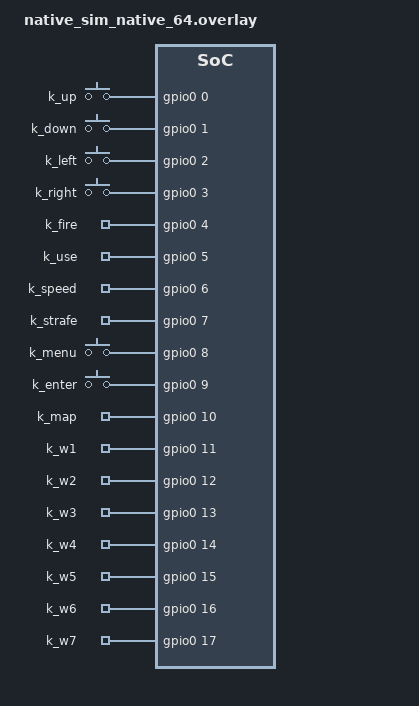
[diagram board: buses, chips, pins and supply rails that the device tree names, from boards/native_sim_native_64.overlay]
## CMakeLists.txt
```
cmake_minimum_required(VERSION 3.20.0)
find_package(Zephyr REQUIRED HINTS $ENV{ZEPHYR_BASE})
project(zephyr_doom)

if (CONFIG_BOARD_NATIVE_SIM)
    set(DOOM_WAD_SRC "${CMAKE_CURRENT_BINARY_DIR}/doom_wad.c")
    set(DOOM_WAD_BIN "${CMAKE_CURRENT_SOURCE_DIR}/../gamedata/doom1.wad")
    add_custom_command(
        OUTPUT ${DOOM_WAD_SRC}
        COMMAND ${PYTHON_EXECUTABLE} ${CMAKE_CURRENT_SOURCE_DIR}/scripts/gen_wad_c.py
                ${DOOM_WAD_BIN} ${DOOM_WAD_SRC}
        DEPENDS ${DOOM_WAD_BIN}
        COMMENT "Embedding doom1.wad into doom_wad.c"
    )
    add_custom_target(doom_wad_gen DEPENDS ${DOOM_WAD_SRC})
    add_dependencies(app doom_wad_gen)
endif()

target_include_directories(app PRIVATE src/)
target_include_directories(app PRIVATE src/config)

set(DOOM_COMMON_SRCS
                src/main.c
                src/doom_status_led.c
                src/n_mem.c
                src/i_timer.c
                src/n_rjoy.c
                src/n_rjoy_shield.c
                src/deh_main.c
                src/deh_str.c
                src/doom/deh_misc.h
                src/doom/deh_misc.c
                src/d_event.c
                src/d_iwad.c
                src/d_mode.c
                src/d_loop.c
                src/i_system.c
                src/i_input.c
                src/i_video.c
                src/i_joystick.c
                src/i_sound.c
                src/m_argv.c
                src/m_bbox.c
                src/m_cheat.c
                src/m_config.c
                src/m_fixed.c
                src/m_misc.c
                src/m_controls.c
                src/net_client.c
                src/net_server.c
                src/tables.c
                src/v_diskicon.c
                src/v_video.c
                src/w_checksum.c
                src/w_file.c
                src/w_file_fatfs.c
                src/w_main.c
                src/wad_sd.c
                src/w_wad.c
                src/z_native.c
                src/sha1.c
                src/doom/am_map.c
                src/doom/doomstat.c
                src/doom/d_main.c
                src/doom/d_net.c
                src/doom/d_items.c
                src/doom/dstrings.c
                src/doom/f_wipe.c
                src/doom/f_finale.c
                src/doom/g_game.c
                src/doom/hu_lib.c
                src/doom/hu_stuff.c
                src/doom/info.c
                src/doom/m_menu.c
                src/doom/m_random.c
                src/doom/p_doors.c
                src/doom/p_ceilng.c
                src/doom/p_enemy.c
                src/doom/p_floor.c
                src/doom/p_lights.c
                src/doom/p_plats.c
                src/doom/p_telept.c
                src/doom/p_setup.c
                src/doom/p_sight.c
                src/doom/p_saveg.c
                src/doom/p_map.c
                src/doom/p_maputl.c
                src/doom/p_mobj.c
                src/doom/p_inter.c
                src/doom/p_tick.c
                src/doom/p_spec.c
                src/doom/p_switch.c
                src/doom/p_pspr.c
                src/doom/p_user.c
                src/doom/r_bsp.c
                src/doom/r_main.c
                src/doom/r_data.c
                src/doom/r_draw.c
                src/doom/r_plane.c
                src/doom/r_segs.c
                src/doom/r_sky.c
                src/doom/r_things.c
                src/doom/s_sound.c
                src/doom/st_lib.c
                src/doom/st_stuff.c
                src/doom/statdump.c
                src/doom/sounds.c
                src/doom/wi_stuff.c
)

target_sources(app PRIVATE ${DOOM_COMMON_SRCS})

if (CONFIG_BOARD_NATIVE_SIM)
    target_sources(app PRIVATE
                    src/n_qspi_native.c
                    src/n_input_native.c
                    ${CMAKE_CURRENT_BINARY_DIR}/doom_wad.c
    )
else()
    target_sources(app PRIVATE src/n_qspi.c)
endif()

if (NOT CONFIG_BOARD_NATIVE_SIM)
    target_sources(app PRIVATE src/n_buttons.c)
endif()

if (CONFIG_FEATURE_DOOM_DISPLAY)
    target_sources(app PRIVATE src/n_display.c)
else()
    target_sources(app PRIVATE src/n_display_stub.c)
endif()

if (CONFIG_FEATURE_DOOM_AUDIO)
    target_sources(app PRIVATE
                    src/n_i2s.c
                    src/n_i2s_sound.c
    )
endif()

if (CONFIG_FEATURE_DOOM_BLE)
    target_sources(app PRIVATE src/bluetooth_control.c)
endif()

if (NOT (CONFIG_BOARD_NRF5340DK_NRF5340_CPUAPP OR CONFIG_BOARD_FRDM_MCXN947 OR CONFIG_BOARD_FRDM_MCXN947_MCXN947_CPU0 OR CONFIG_BOARD_NATIVE_SIM))
    message(FATAL_ERROR "Unsupported board for unified_implementation: ${CONFIG_BOARD}")
endif()


# set C version
set(CMAKE_C_STANDARD 89)

# set oldest CPP version
set(CMAKE_CXX_STANDARD  98)
```

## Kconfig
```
mainmenu "Zephyr Kernel Configuration"

source "Kconfig.zephyr"

module = DOOM_MAIN
module-str = doom_main
source "subsys/logging/Kconfig.template.log_config"

menu "Zephyr Doom features"

config FEATURE_DOOM_AUDIO
	bool "Audio (I2S mixer output)"
	default y if BOARD_NRF5340DK_NRF5340_CPUAPP || BOARD_FRDM_MCXN947 || BOARD_FRDM_MCXN947_MCXN947_CPU0
	select I2S
	select I2S_MCUX_SAI if BOARD_FRDM_MCXN947 || BOARD_FRDM_MCXN947_MCXN947_CPU0
	help
	  Enable Doom audio output.

config FEATURE_DOOM_BLE
	bool "BLE input (HID clients via NCS helpers)"
	default y if BOARD_NRF5340DK_NRF5340_CPUAPP
	default n
	select BT
	select BT_CENTRAL
	select BT_SMP
	select BT_GATT_CLIENT
	select BT_SCAN
	select DK_LIBRARY if SOC_NRF5340_CPUAPP
	select BT_GATT_DM if SOC_NRF5340_CPUAPP
	select BT_HOGP if SOC_NRF5340_CPUAPP
	select BT_SCAN_FILTER_ENABLE if SOC_NRF5340_CPUAPP
	help
	  Enable BLE-based controllers.

	  Note (nRF5340 + NCS): you may also need NCS-specific bt_scan tuning
	  symbols (e.g. CONFIG_BT_SCAN_UUID_CNT).

config FEATURE_DOOM_SD
	bool "SD card upload (copy WAD to external flash)"
	default n
	select DISK_DRIVERS
	select FILE_SYSTEM
	select DISK_ACCESS
	select FAT_FILESYSTEM_ELM
	help
	  Enable mounting an SD card and uploading a WAD into external flash.
	  Normal gameplay reads the WAD from external flash/XIP and does not
	  require this feature.

config FEATURE_DOOM_DISPLAY
	bool "Display output (FT810 over SPI)"
	default y if BOARD_NRF5340DK_NRF5340_CPUAPP || BOARD_FRDM_MCXN947 || BOARD_FRDM_MCXN947_MCXN947_CPU0
	select SPI
	select GPIO
	help
	  Enable FT810 display output. If disabled, Doom still renders internally
	  but no frames are sent to the display controller.

config FEATURE_DOOM_BUTTONS
	bool "GPIO buttons"
	default y if BOARD_NRF5340DK_NRF5340_CPUAPP || BOARD_FRDM_MCXN947 || BOARD_FRDM_MCXN947_MCXN947_CPU0
	depends on GPIO
	help
	  Enable GPIO button input via devicetree aliases sw0..sw3.

config FEATURE_DOOM_LEDS
	bool "Status LEDs"
	default y if BOARD_NRF5340DK_NRF5340_CPUAPP || BOARD_FRDM_MCXN947 || BOARD_FRDM_MCXN947_MCXN947_CPU0
	default n
	depends on GPIO
	help
	  Enable optional LED indications.

config FEATURE_DOOM_SHIELD
	bool "Wired joystick shield (ADC + GPIO)"
	default y if BOARD_FRDM_MCXN947 || BOARD_FRDM_MCXN947_MCXN947_CPU0
	depends on GPIO
	help
	  Enable support for a wired joystick + button shield.

	  The joystick axes are read via Zephyr ADC (devicetree io-channels), and
	  the buttons are read via Zephyr GPIO (devicetree aliases).

config FEATURE_DOOM_NET
	bool "Network multiplayer (UDP, Chocolate Doom 3.0.0 compatible)"
	default y if BOARD_NATIVE_SIM
	default n
	select NETWORKING
	select NET_SOCKETS
	help
	  Enable Chocolate Doom 3.0.0 protocol-compatible UDP multiplayer, so the
	  game can join a standard chocolate-server / chocolate-doom session.

	  The transport (net_zephyr.c) uses Zephyr's BSD socket API. On native_sim
	  this is backed by host-offloaded sockets (enable
	  CONFIG_NET_NATIVE_OFFLOADED_SOCKETS in the board config), which needs no
	  host-side network setup. On hardware targets an IP-capable network
	  interface must additionally be configured.

config DOOM_SERVER_ADDR
	string "Multiplayer server address host[:port] (hardware targets)"
	depends on FEATURE_DOOM_NET
	default "192.168.10.1:2342"
	help
	  Hardware targets have no command line, so this is the server the game
	  connects to when an Ethernet link is present at boot (see M_ArgvInit).
	  Dotted-quad IPv4, optionally ":port" (default port 2342). Ignored on
	  native_sim, which takes -connect from the DOOM_ARGS environment variable.

config DOOM_NET_LINK_WAIT_MS
	int "Boot wait (ms) for Ethernet link before choosing SP vs MP"
	depends on FEATURE_DOOM_NET
	default 3000
	help
	  How long to wait at boot for the Ethernet PHY to report carrier. If the
	  link comes up within this window the game joins CONFIG_DOOM_SERVER_ADDR;
	  otherwise it starts single-player. PHY negotiation typically takes
	  ~1.7 s after reset.

choice
	prompt "Feature preset"
	default FEATURE_DOOM_PRESET_CUSTOM
	help
	  Convenience presets that enable a set of features for some tested boards.

config FEATURE_DOOM_PRESET_CUSTOM
	bool "Custom (no preset)"

config FEATURE_DOOM_PRESET_NRF5340DK_NRF5340_CPUAPP
	bool "nrf5340dk_nrf5340_cpuapp"
	select FEATURE_DOOM_DISPLAY
	select FEATURE_DOOM_AUDIO
	select FEATURE_DOOM_BUTTONS
	select FEATURE_DOOM_LEDS
	select FEATURE_DOOM_SD
	select FEATURE_DOOM_BLE

config FEATURE_DOOM_PRESET_FRDM_MCXN947_MCXN947_CPU0
	bool "frdm_mcxn947_mcxn947_cpu0"
	select FEATURE_DOOM_DISPLAY
	select FEATURE_DOOM_AUDIO
	select FEATURE_DOOM_BUTTONS
	select FEATURE_DOOM_LEDS
	select FEATURE_DOOM_SHIELD

endchoice

endmenu
```

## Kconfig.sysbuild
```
#
# Copyright (c) 2023 Nordic Semiconductor
#
# SPDX-License-Identifier: LicenseRef-Nordic-5-Clause
#

source "${ZEPHYR_BASE}/share/sysbuild/Kconfig"

config NRF_DEFAULT_BLUETOOTH
	default y
```

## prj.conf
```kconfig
CONFIG_LOG=y
CONFIG_LOG_MODE_IMMEDIATE=y
CONFIG_PRINTK=y

# Feature toggles (comment/uncomment)
# Features default per-board in `Kconfig`.
# Override here only when you want a non-default build.
#
# Example overrides:
# CONFIG_FEATURE_DOOM_SD=y
# CONFIG_FEATURE_DOOM_DISPLAY=n
# CONFIG_FEATURE_DOOM_AUDIO=n
# CONFIG_FEATURE_DOOM_BUTTONS=n
# CONFIG_FEATURE_DOOM_SHIELD=n
# CONFIG_FEATURE_DOOM_LEDS=y
#
# If CONFIG_FEATURE_DOOM_BLE is enabled on nRF5340 then bt_scan tuning may be
# required; keep NCS-only symbols in boards/nrf5340dk_nrf5340_cpuapp.conf.
# CONFIG_FEATURE_DOOM_BLE=y

CONFIG_MAIN_STACK_SIZE=4096
CONFIG_SYSTEM_WORKQUEUE_STACK_SIZE=2048
CONFIG_HEAP_MEM_POOL_SIZE=16384

# Common debug/metrics
CONFIG_CPU_LOAD=y
CONFIG_CPU_LOAD_LOG_PERIODICALLY=1000

# Common peripherals
CONFIG_GPIO=y
CONFIG_SPI=y
CONFIG_DISPLAY=y

# WAD-in-flash path expects these on both targets
CONFIG_FLASH=y
CONFIG_XIP=y

CONFIG_MAIN_THREAD_PRIORITY=4
```

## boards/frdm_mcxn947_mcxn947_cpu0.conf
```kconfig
CONFIG_THREAD_RUNTIME_STATS=y
CONFIG_THREAD_RUNTIME_STATS_USE_TIMING_FUNCTIONS=y
CONFIG_TIMING_FUNCTIONS=y

CONFIG_HEAP_MEM_POOL_SIZE=16384

# Wired joystick shield uses LPADC via Zephyr ADC subsystem.
CONFIG_ADC=y

# Audio (I2S via MCUX SAI) requires a larger DMA TCD queue than Zephyr's default.
CONFIG_DMA_TCD_QUEUE_SIZE=4

CONFIG_FEATURE_DOOM_NET=y
CONFIG_PHY_MONITOR_PERIOD=3600000

CONFIG_NET_L2_ETHERNET=y
CONFIG_NET_DRIVERS=y
CONFIG_NET_IPV4=y
CONFIG_NET_IPV6=n
CONFIG_NET_UDP=y
CONFIG_NET_TCP=n

CONFIG_NET_CONFIG_SETTINGS=y
CONFIG_NET_CONFIG_NEED_IPV4=y
CONFIG_NET_CONFIG_NEED_IPV6=n
CONFIG_NET_CONFIG_MY_IPV4_ADDR="192.168.10.2"
CONFIG_NET_CONFIG_MY_IPV4_GW="192.168.10.1"
CONFIG_NET_CONFIG_MY_IPV4_NETMASK="255.255.255.0"

CONFIG_ETH_NXP_ENET_QOS_TX_BUFFER_DESCRIPTORS=8
CONFIG_NET_PKT_RX_COUNT=32
CONFIG_NET_PKT_TX_COUNT=16
CONFIG_NET_BUF_RX_COUNT=64
CONFIG_NET_BUF_TX_COUNT=24
```

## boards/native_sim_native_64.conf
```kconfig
# Native simulator (Linux) build of zephyr-doom.

# Run simulated Zephyr time at host real-time speed (default is uncapped).
CONFIG_NATIVE_SIM_SLOWDOWN_TO_REAL_TIME=y

# Display: SDL window
CONFIG_DISPLAY=y
CONFIG_SDL_DISPLAY=y
CONFIG_SDL_DISPLAY_ZOOM_PCT=300

# Input: SDL keyboard -> emulated GPIO
CONFIG_GPIO=y
CONFIG_GPIO_EMUL=y
CONFIG_GPIO_EMUL_SDL=y

# No real flash / SPI / XIP on native
CONFIG_FLASH=n
CONFIG_SPI=n
CONFIG_XIP=n

# Multiplayer: Chocolate Doom compatible UDP networking.
# CONFIG_FEATURE_DOOM_NET defaults y for native_sim (see Kconfig) and selects
# CONFIG_NETWORKING + CONFIG_NET_SOCKETS. Here we route the BSD socket API to
# the host via offloaded sockets, so no host-side network setup (TAP, root) is
# required: the simulated game talks to a chocolate-server running on the host
# exactly like any other host process.
CONFIG_FEATURE_DOOM_NET=y
CONFIG_NET_DRIVERS=y
CONFIG_NET_SOCKETS_OFFLOAD=y
CONFIG_NET_NATIVE_OFFLOADED_SOCKETS=y
# Disable the native TAP Ethernet driver / native IP stack: it would otherwise
# intercept socket() with Zephyr's own address-family constants and conflict
# with the host-offloaded sockets (manifesting as EPFNOSUPPORT on socket()).
CONFIG_ETH_NATIVE_TAP=n

# Doom feature flags: everything hardware-specific OFF.
CONFIG_FEATURE_DOOM_DISPLAY=n
CONFIG_FEATURE_DOOM_AUDIO=n
CONFIG_FEATURE_DOOM_BLE=n
CONFIG_FEATURE_DOOM_SD=n
CONFIG_FEATURE_DOOM_BUTTONS=n
CONFIG_FEATURE_DOOM_SHIELD=n
CONFIG_FEATURE_DOOM_LEDS=n

# Plenty of heap on the host.
CONFIG_HEAP_MEM_POOL_SIZE=262144
CONFIG_MAIN_STACK_SIZE=16384

CONFIG_LOG=y
CONFIG_PRINTK=y
```

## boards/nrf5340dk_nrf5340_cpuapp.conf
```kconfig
# QSPI flash (Nordic)
CONFIG_NRFX_QSPI=y
CONFIG_NORDIC_QSPI_NOR=y
CONFIG_NORDIC_QSPI_NOR_XIP=y

# BLE scan tuning (Nordic/NCS bt_scan)
CONFIG_BT_SCAN_UUID_CNT=1
CONFIG_BT_SCAN_NAME_CNT=19

# Larger BT RX thread stack; improves stability across boards.
CONFIG_BT_RX_STACK_SIZE=2048

# Multiplayer over USB CDC-ECM (device shows up as a USB Ethernet adapter).
CONFIG_FEATURE_DOOM_NET=y
CONFIG_USB_DEVICE_STACK_NEXT=y
CONFIG_USBD_CDC_ECM_CLASS=y
CONFIG_UDC_NRF_THREAD_STACK_SIZE=2048
CONFIG_TEST_RANDOM_GENERATOR=y
CONFIG_TIMER_RANDOM_GENERATOR=y

CONFIG_NET_L2_ETHERNET=y
CONFIG_NET_DRIVERS=y
CONFIG_NET_IPV4=y
CONFIG_NET_IPV6=n
CONFIG_NET_UDP=y
CONFIG_NET_TCP=n

# NET_CONFIG_AUTO_INIT defaults to n when USBD_CDC_ECM_CLASS is set (the USB
# interface does not exist yet at net_config init time), so NET_CONFIG_NEED_IPV4
# is unavailable here and the addresses below are applied by hand from
# N_usb_net_init() in src/n_usb.c once the device has enumerated.
CONFIG_NET_CONFIG_SETTINGS=y
CONFIG_NET_CONFIG_MY_IPV4_ADDR="192.168.10.2"
CONFIG_NET_CONFIG_MY_IPV4_GW="192.168.10.1"
CONFIG_NET_CONFIG_MY_IPV4_NETMASK="255.255.255.0"

CONFIG_NET_PKT_RX_COUNT=32
CONFIG_NET_PKT_TX_COUNT=16
CONFIG_NET_BUF_RX_COUNT=64
CONFIG_NET_BUF_TX_COUNT=24

# USB enumeration is slower than a wired link; wait longer before SP/MP decision.
CONFIG_DOOM_NET_LINK_WAIT_MS=8000
```

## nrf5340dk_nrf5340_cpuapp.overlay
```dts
// To get started, press Ctrl+Space to bring up the completion menu and view the available nodes.

// You can also use the buttons in the sidebar to perform actions on nodes.
// Actions currently available include:

// * Enabling / disabling the node
// * Adding the bus to a bus
// * Removing the node
// * Connecting ADC channels

// For more help, browse the DeviceTree documentation at https: //docs.zephyrproject.org/latest/guides/dts/index.html
// You can also visit the nRF DeviceTree extension documentation at https: //nrfconnect.github.io/vscode-nrf-connect/devicetree/nrfdevicetree.html

/ {
    lcd {
        compatible = "gpio-keys";

        lcd_bit1: lcd_bit1-gpios {
            gpios = <&gpio1 10 0>;
        };
        lcd_bit2: lcd_bit2-gpios {
            gpios = <&gpio1 11 0>;
        };
        lcd_bit3: lcd_bit3-gpios {
            gpios = <&gpio1 4 0>;
        };
        lcd_bit4: lcd_bit4-gpios {
            gpios = <&gpio1 5 0>;
        };
        lcd_bit5: lcd_bit5-gpios {
            gpios = <&gpio1 6 0>;
        };
        lcd_bit6: lcd_bit6-gpios {
            gpios = <&gpio1 7 0>;
        };
        lcd_bit7: lcd_bit7-gpios {
            gpios = <&gpio1 8 0>;
        };
        lcd_bit8: lcd_bit8-gpios {
            gpios = <&gpio1 9 0>;
        };
        lcd_rst: lcd_rst-gpios {
            gpios = <&gpio0 25 0>;
        };
        lcd_sc: lcd_sc-gpios {
            gpios = <&gpio0 7 0>;
        };
        lcd_rs: lcd_rs-gpios {
            gpios = <&gpio0 6 0>;
        };
        lcd_wr: lcd_wr-gpios {
            gpios = <&gpio0 5 0>;
        };
        lcd_rd: lcd_rd-gpios {
            gpios = <&gpio0 4 0>;
        };
    };

    aliases {
        lcd1 = &lcd_bit1;
        lcd2 = &lcd_bit2;
        lcd3 = &lcd_bit3;
        lcd4 = &lcd_bit4;
        lcd5 = &lcd_bit5;
        lcd6 = &lcd_bit6;
        lcd7 = &lcd_bit7;
        lcd8 = &lcd_bit8;
        lcdrst = &lcd_rst;
        lcdsc = &lcd_sc;
        lcdrs = &lcd_rs;
        lcdwr = &lcd_wr;
        lcdrd = &lcd_rd;
    };
};

&arduino_spi {
    sdhc0: sdhc@0 {
        compatible = "zephyr,sdhc-spi-slot";
        reg = <0>;
        status = "okay";
        sdmmc {
            compatible = "zephyr,sdmmc-disk";
            status = "okay";
        };

        spi-max-frequency = <8000000>;
    };
};
```

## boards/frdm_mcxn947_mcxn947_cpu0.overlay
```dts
#include <nxp/mcx/MCXN947VDF-pinctrl.h>
#include <zephyr/dt-bindings/adc/adc.h>
#include <zephyr/dt-bindings/adc/mcux-lpadc.h>
#include <zephyr/dt-bindings/gpio/arduino-header-r3.h>
#include <zephyr/dt-bindings/gpio/gpio.h>

&flexcomm1 {
    status = "okay";
};

// Keep SPI DMA enabled for display performance.
// Synchronization in n_display_zephyr_spi.c ensures sync register accesses do not
// overlap with async framebuffer DMA transfers.

/ {
    aliases {
        doom-status-led = &green_led;
        spi4 = &arduino_spi;
        i2s-tx = &sai1;
        doom-joy = &doom_joy;
        doom-shield-fire = &doom_shield_fire;
        doom-shield-use = &doom_shield_use;
        doom-shield-speed = &doom_shield_speed;
        doom-shield-weapon = &doom_shield_weapon;
        doom-shield-mapbtn = &doom_shield_map;
        doom-shield-menu = &doom_shield_menu;
    };

    /*
     * Wired joystick/button shield configuration.
     *
     * Defaults match common "joystick shield" wiring:
     *  - Joystick: A0/A1 routed to LPADC0 channels (adjust if needed)
     *  - Buttons: D2..D7 (active-low with pull-ups)
     */
    doom_joy: doom_joy {
        compatible = "zephyrdoom,joy";
        io-channels = <&lpadc0 0>, <&lpadc0 1>; /* X, Y */
        invert-y;
    };

    doom_shield_keys: doom_shield_keys {
        compatible = "gpio-keys";

        doom_shield_weapon: shield_btn_weapon {
            gpios = <&arduino_header ARDUINO_HEADER_R3_D2 (GPIO_PULL_UP | GPIO_ACTIVE_LOW)>;
            label = "doom_shield_weapon";
        };

        doom_shield_fire: shield_btn_fire {
            gpios = <&arduino_header ARDUINO_HEADER_R3_D3 (GPIO_PULL_UP | GPIO_ACTIVE_LOW)>;
            label = "doom_shield_fire";
        };

        doom_shield_use: shield_btn_use {
            gpios = <&arduino_header ARDUINO_HEADER_R3_D4 (GPIO_PULL_UP | GPIO_ACTIVE_LOW)>;
            label = "doom_shield_use";
        };

        doom_shield_speed: shield_btn_speed {
            gpios = <&arduino_header ARDUINO_HEADER_R3_D5 (GPIO_PULL_UP | GPIO_ACTIVE_LOW)>;
            label = "doom_shield_speed";
        };

        doom_shield_map: shield_btn_map {
            gpios = <&arduino_header ARDUINO_HEADER_R3_D6 (GPIO_PULL_UP | GPIO_ACTIVE_LOW)>;
            label = "doom_shield_map";
        };

        doom_shield_menu: shield_btn_menu {
            gpios = <&arduino_header ARDUINO_HEADER_R3_D7 (GPIO_PULL_UP | GPIO_ACTIVE_LOW)>;
            label = "doom_shield_menu";
        };
    };
};

/*
 * Configure LPADC channels for joystick axes.
 * Arduino A0/A1 route to dedicated ADC0_A0/ADC0_B0 inputs.
 */
&lpadc0 {
    #address-cells = <1>;
    #size-cells = <0>;
    voltage-ref = <2>;

    channel@0 {
        reg = <0>;
        zephyr,resolution = <12>;
        zephyr,gain = "ADC_GAIN_1";
        zephyr,reference = "ADC_REF_EXTERNAL0";
        zephyr,acquisition-time = <ADC_ACQ_TIME_DEFAULT>;
        zephyr,input-positive = <MCUX_LPADC_CH0A>;
    };

    channel@1 {
        reg = <1>;
        zephyr,resolution = <12>;
        zephyr,gain = "ADC_GAIN_1";
        zephyr,reference = "ADC_REF_EXTERNAL0";
        zephyr,acquisition-time = <ADC_ACQ_TIME_DEFAULT>;
        zephyr,input-positive = <MCUX_LPADC_CH0B>;
    };
};

&sram0 {
    reg = <0x20000000 0x68000>;
};

&sramg {
    status = "disabled";
};

&sramh {
    status = "disabled";
};

/* I2S audio via SAI1 -> PCM5102/MAX98357-style DAC/amp.
 * SAI1 pins: TXD0=P2_8, TX_BCLK=P1_0, TX_FS=P1_1.
 * Move SAI1 onto dedicated EDMA channels so it does not collide with
 * the display SPI DMA channels used by arduino_spi. */
&sai0 {
    status = "disabled";
};

&sai1 {
    status = "okay";
    pinctrl-0 = <&pinmux_sai1_doom_audio>;
    pinctrl-names = "default";
    dmas = <&edma0 6 101>, <&edma0 7 102>;
    dma-names = "rx", "tx";
    nxp,rx-dma-channel = <6>;
    nxp,tx-dma-channel = <7>;
};

&sc_timer {
    status = "disabled";
};

&flexpwm1_pwm0 {
    status = "disabled";
};

&usdhc0 {
    status = "disabled";
};

&user_button_2 {
    status = "okay";
};

&user_button_3 {
    status = "okay";
};

/* Keep LPSPI on the Arduino SPI pins (SCK/MOSI/MISO), and leave the CS pin
 * under GPIO control (DISPLAY_PIN_CS_N).
 * CS for the FT810 is driven manually as GPIO (DISPLAY_PIN_CS_N). */
&pinctrl {
    pinmux_sai1_doom_audio: pinmux_sai1_doom_audio {
        group0 {
            pinmux = <SAI1_TX_BCLK_PIO1_0>,
                 <SAI1_TX_FS_PIO1_1>,
                 <SAI1_TXD0_PIO2_8>;
            drive-strength = "high";
            slew-rate = "fast";
            input-enable;
        };
    };

    pinmux_flexcomm1_lpspi_no_cs: pinmux_flexcomm1_lpspi_no_cs {
        group0 {
            pinmux = <FC1_P0_PIO0_24>,
                     <FC1_P1_PIO0_25>,
                     <FC1_P2_PIO0_26>;
            slew-rate = "fast";
            drive-strength = "low";
            input-enable;
        };
    };
};

&arduino_spi {
    pinctrl-0 = <&pinmux_flexcomm1_lpspi_no_cs>;
    pinctrl-names = "default";
};
```

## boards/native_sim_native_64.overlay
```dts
/*
 * native_sim overlay for zephyr-doom.
 * Maps host keyboard keys to emulated GPIO pins via gpio-emul-sdl,
 * and sets the SDL display to the Doom resolution.
 */

/ {
    aliases {
        doom-up     = &k_up;
        doom-down   = &k_down;
        doom-left   = &k_left;
        doom-right  = &k_right;
        doom-fire   = &k_fire;
        doom-use    = &k_use;
        doom-speed  = &k_speed;
        doom-strafe = &k_strafe;
        doom-menu   = &k_menu;
        doom-enter  = &k_enter;
        doom-automap = &k_map;
        doom-weap1  = &k_w1;
        doom-weap2  = &k_w2;
        doom-weap3  = &k_w3;
        doom-weap4  = &k_w4;
        doom-weap5  = &k_w5;
        doom-weap6  = &k_w6;
        doom-weap7  = &k_w7;
    };

    doom_keys {
        compatible = "gpio-keys";
        k_up:     k_up     { gpios = <&gpio0 0 GPIO_ACTIVE_HIGH>; };
        k_down:   k_down   { gpios = <&gpio0 1 GPIO_ACTIVE_HIGH>; };
        k_left:   k_left   { gpios = <&gpio0 2 GPIO_ACTIVE_HIGH>; };
        k_right:  k_right  { gpios = <&gpio0 3 GPIO_ACTIVE_HIGH>; };
        k_fire:   k_fire   { gpios = <&gpio0 4 GPIO_ACTIVE_HIGH>; };
        k_use:    k_use    { gpios = <&gpio0 5 GPIO_ACTIVE_HIGH>; };
        k_speed:  k_speed  { gpios = <&gpio0 6 GPIO_ACTIVE_HIGH>; };
        k_strafe: k_strafe { gpios = <&gpio0 7 GPIO_ACTIVE_HIGH>; };
        k_menu:   k_menu   { gpios = <&gpio0 8 GPIO_ACTIVE_HIGH>; };
        k_enter:  k_enter  { gpios = <&gpio0 9 GPIO_ACTIVE_HIGH>; };
        k_map:    k_map    { gpios = <&gpio0 10 GPIO_ACTIVE_HIGH>; };
        k_w1:     k_w1     { gpios = <&gpio0 11 GPIO_ACTIVE_HIGH>; };
        k_w2:     k_w2     { gpios = <&gpio0 12 GPIO_ACTIVE_HIGH>; };
        k_w3:     k_w3     { gpios = <&gpio0 13 GPIO_ACTIVE_HIGH>; };
        k_w4:     k_w4     { gpios = <&gpio0 14 GPIO_ACTIVE_HIGH>; };
        k_w5:     k_w5     { gpios = <&gpio0 15 GPIO_ACTIVE_HIGH>; };
        k_w6:     k_w6     { gpios = <&gpio0 16 GPIO_ACTIVE_HIGH>; };
        k_w7:     k_w7     { gpios = <&gpio0 17 GPIO_ACTIVE_HIGH>; };
    };
};

&gpio0 {
    ngpios = <18>;

    sdl_gpio {
        compatible = "zephyr,gpio-emul-sdl";
        /* up    down  left  right  fire('X')  use(Space)
         * speed('Z')  strafe('C')  menu(Esc)  enter(Return)
         * map(Tab)  weap1..weap7 ('1'..'7') */
        scancodes = <82 81 80 79 27 44 29 6 41 40
                     43 30 31 32 33 34 35 36>;
    };
};

&sdl_dc {
    width  = <320>;
    height = <200>;
};
```

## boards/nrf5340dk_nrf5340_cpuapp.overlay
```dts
&pinctrl {
    i2s0_doom_pins: i2s0_doom_pins {
        group1 {
            psels = <NRF_PSEL(I2S_SCK_M, 1, 8)>,
                    <NRF_PSEL(I2S_LRCK_M, 1, 6)>,
                    <NRF_PSEL(I2S_SDOUT, 1, 7)>;
        };
    };

    spi4_ft810_pins: spi4_ft810_pins {
        group1 {
            psels = <NRF_PSEL(SPIM_SCK, 0, 6)>,
                    <NRF_PSEL(SPIM_MOSI, 0, 25)>,
                    <NRF_PSEL(SPIM_MISO, 0, 5)>;
            nordic,drive-mode = <3>;
        };
    };

    spi4_ft810_pins_sleep: spi4_ft810_pins_sleep {
        group1 {
            psels = <NRF_PSEL(SPIM_SCK, 0, 6)>,
                    <NRF_PSEL(SPIM_MOSI, 0, 25)>,
                    <NRF_PSEL(SPIM_MISO, 0, 5)>;
            nordic,drive-mode = <0>;
        };
    };

    spi2_default: spi2_default {
        group1 {
            psels = <NRF_PSEL(SPIM_SCK, 1, 15)>,
                    <NRF_PSEL(SPIM_MISO,1, 14)>,
                    <NRF_PSEL(SPIM_MOSI,1, 13)>;
        };
    };
};

/ {
    aliases {
        doom-status-led = &led0;
        spi4 = &spi4;
        i2s-tx = &i2s0;
    };

    cdc_ecm_eth0: cdc_ecm_eth0 {
        compatible = "zephyr,cdc-ecm-ethernet";
        remote-mac-address = "00005E005301";
    };
};

&i2s0 {
    status = "okay";
    pinctrl-0 = <&i2s0_doom_pins>;
    pinctrl-names = "default";
    clock-source = "ACLK";
};

&clock {
    hfclkaudio-frequency = <11113200>;
};

&spi4 {
    status = "okay";
    pinctrl-0 = <&spi4_ft810_pins>;
    pinctrl-1 = <&spi4_ft810_pins_sleep>;
    pinctrl-names = "default", "sleep";
};

&spi2 {
    status = "okay";
    pinctrl-0 = <&spi2_default>;
    pinctrl-names = "default";

    cs-gpios = <&gpio1 12 (GPIO_ACTIVE_LOW | GPIO_PULL_UP)>;

    sdhc0: sdhc@0 {
        compatible = "zephyr,sdhc-spi-slot";
        reg = <0>;
        status = "okay";
        spi-max-frequency = <4000000>;
        mmc { compatible = "zephyr,sdmmc-disk"; disk-name = "SD"; status = "okay"; };
    };
};

&mx25r64 {
    sck-frequency = <32000000>;
};
```

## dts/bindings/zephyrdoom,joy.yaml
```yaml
# SPDX-License-Identifier: Apache-2.0

description: Doom wired joystick ADC channel consumer

compatible: "zephyrdoom,joy"

properties:
  io-channels:
    type: phandle-array
    required: true
    description: ADC controller phandles for joystick axes (X index 0, Y index 1)

  swap-axes:
    type: boolean
    description: If set, swap X/Y axes when generating Doom joystick events.

  invert-x:
    type: boolean
    description: If set, invert the X axis sign (left/right).

  invert-y:
    type: boolean
    description: If set, invert the Y axis sign (up/down).
```

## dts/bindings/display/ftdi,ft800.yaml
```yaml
description: FTDI/Bridgetek FT800/FT81x Embedded Video Engine

compatible: "ftdi,ft800"

include: spi-device.yaml

properties:
  reset_gpios:
    type: phandle-array
    required: true
    description: Power down (reset) GPIO

  hsize:
    type: int
    required: true
    description: Active width of LCD display

  vsize:
    type: int
    required: true
    description: Active height of LCD display

  hcycle:
    type: int
    required: true
    description: Total number of clocks per line

  hoffset:
    type: int
    required: true
    description: Start of active line

  hsync0:
    type: int
    required: true
    description: Start of horizontal sync pulse

  hsync1:
    type: int
    required: true
    description: End of horizontal sync pulse

  vcycle:
    type: int
    required: true
    description: Total number of lines per screen

  voffset:
    type: int
    required: true
    description: Start of active screen

  vsync0:
    type: int
    required: true
    description: Start of vertical sync pulse

  vsync1:
    type: int
    required: true
    description: End of vertical sync pulse

  swizzle:
    type: int
    required: true
    description: Define RGB output pins

  pclk_pol:
    type: int
    required: true
    description: Define active edge of PCLK

  pclk:
    type: int
    required: true
    description: Pixel Clock divider

  pwm_duty:
    type: int
    required: true
    description: Backlight PWM duty cycle

  rotate:
    type: int
    required: true
    description: Screen rotation (0=normal, 1=inverted)
```

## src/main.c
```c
/*
 * Copyright (c) 2016 Intel Corporation
 *
 * SPDX-License-Identifier: Apache-2.0
 */

/*
 * Unified Zephyr main entrypoint.
 *
 * - On boards that enable FATFS+disk access, mounts the disk and lists files.
 * - On nRF5340, performs the known-good HFCLK/cache bring-up.
 */

#include <zephyr/kernel.h>
#include <zephyr/logging/log.h>

#if defined(CONFIG_FILE_SYSTEM) && defined(CONFIG_DISK_ACCESS) && \
    defined(CONFIG_FAT_FILESYSTEM_ELM)
#include <ff.h>
#include <zephyr/fs/fs.h>
#include <zephyr/storage/disk_access.h>
#endif

#if defined(CONFIG_SOC_NRF5340_CPUAPP)
#include <hal/nrf_cache.h>
#include <hal/nrf_clock.h>
#include <nrfx_clock.h>
#endif

#if defined(CONFIG_FEATURE_DOOM_BLE)
#include "bluetooth_control.h"
#endif
#if defined(CONFIG_FEATURE_DOOM_AUDIO)
#include "n_i2s.h"
#endif

#include "doom_status_led.h"

LOG_MODULE_REGISTER(doom_main, CONFIG_DOOM_MAIN_LOG_LEVEL);

int no_sdcard = 1;

#if defined(CONFIG_BOARD_NATIVE_SIM)
// Debug aid: on native_sim (a normal host process) install a SIGSEGV/SIGABRT
// handler that prints a glibc backtrace, so a crash leaves an addr2line-able
// stack on stderr without needing gdb (which disturbs the native simulator's
// offloaded-socket host threads). Resolve with:
//   addr2line -e build/zephyr/zephyr.exe -f -p <addr>
#include <signal.h>
#include <stdio.h>

static void doom_crash_handler(int sig) {
    fprintf(stderr, "\n=== native_sim caught signal %d (run under gdb for a "
                    "full backtrace) ===\n", sig);
    fflush(stderr);
    signal(sig, SIG_DFL);
    raise(sig);
}

static void doom_install_crash_handler(void) {
    signal(SIGSEGV, doom_crash_handler);
    signal(SIGBUS, doom_crash_handler);
}
#else
static void doom_install_crash_handler(void) {}
#endif

void D_DoomMain(void);
void M_ArgvInit(void);
void N_ButtonsInit(void);
#if defined(CONFIG_USBD_CDC_ECM_CLASS)
int N_usb_net_init(void);
#endif

#if defined(CONFIG_SOC_NRF5340_CPUAPP)
static void platform_clock_cache_init(void) {
    nrfx_clock_hfclk_start();
    nrf_clock_hfclk_div_set(NRF_CLOCK_S, NRF_CLOCK_HFCLK_DIV_1);
    nrfx_clock_divider_set(NRF_CLOCK_DOMAIN_HFCLK192M, NRF_CLOCK_HFCLK_DIV_1);

    NRF_CACHE_S->ENABLE = 1;
}
#else
static void platform_clock_cache_init(void) {}
#endif

#if defined(CONFIG_FILE_SYSTEM) && defined(CONFIG_DISK_ACCESS) && \
    defined(CONFIG_FAT_FILESYSTEM_ELM)
#define DISK_DRIVE_NAME "SD"
#define DISK_MOUNT_PT "/" DISK_DRIVE_NAME ":"

static FATFS fat_fs;
static struct fs_mount_t mp = {
    .type = FS_FATFS,
    .fs_data = &fat_fs,
};
static const char* disk_mount_pt = DISK_MOUNT_PT;

static int lsdir(const char* path) {
    int res;
    struct fs_dir_t dirp;
    static struct fs_dirent entry;
    int count = 0;

    fs_dir_t_init(&dirp);

    res = fs_opendir(&dirp, path);
    if (res) {
        printk("Error opening dir %s [%d]\n", path, res);
        return res;
    }

    printk("\nListing dir %s ...\n", path);
    for (;;) {
        res = fs_readdir(&dirp, &entry);

        /* entry.name[0] == 0 means end-of-dir */
        if (res || entry.name[0] == 0) {
            break;
        }

        if (entry.type == FS_DIR_ENTRY_DIR) {
            printk("[DIR ] %s\n", entry.name);
        } else {
            printk("[FILE] %s (size = %zu)\n", entry.name, entry.size);
        }
        count++;
    }

    fs_closedir(&dirp);
    if (res == 0) {
        res = count;
    }

    return res;
}

static void try_mount_disk(void) {
    mp.mnt_point = disk_mount_pt;

    int res = fs_mount(&mp);
    if (res == FR_OK) {
        printk("Disk mounted.\n");
        no_sdcard = 0;
        lsdir(disk_mount_pt);
    } else {
        printk("Error mounting disk (%d).\n", res);
    }
}
#else
static void try_mount_disk(void) { no_sdcard = 1; }
#endif

int main(void) {
    doom_install_crash_handler();

    LOG_INF("BOARD STARTING %s", CONFIG_BOARD);

    doom_status_led_init();
    doom_status_led_set(DOOM_STATUS_LED_LOADING);

    platform_clock_cache_init();

#if defined(CONFIG_FEATURE_DOOM_SD)
    try_mount_disk();
#else
    no_sdcard = 1;
#endif

    N_ButtonsInit();
#if defined(CONFIG_FEATURE_DOOM_AUDIO)
    N_I2S_init();
#endif
#if defined(CONFIG_USBD_CDC_ECM_CLASS)
    N_usb_net_init();
#endif
    M_ArgvInit();

#if defined(CONFIG_FEATURE_DOOM_BLE)
    int err = bluetooth_control_init();
    if (err) {
        LOG_ERR("Bluetooth control initialization failed.");
        doom_status_led_set(DOOM_STATUS_LED_CRASHED);
        return 0;
    }
#endif

    D_DoomMain();

    for (;;) {
        k_sleep(K_FOREVER);
    }
}
```

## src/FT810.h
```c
#define FT810_CMD_WAKEUP 0x00
#define FT810_CMD_STANDBY 0x41
#define FT810_CMD_SLEEP 0x42
#define FT810_CMD_PWRDOWN 0x43
#define FT810_CMD_CLKEXT 0x44
#define FT810_CMD_CLKINT 0x44
#define FT810_CMD_CLKSEL 0x61
#define FT810_CMD_RST 0x68

// #define LOW_FREQ_BOUND  58800000L//98% of 60Mhz

// #define FT81X_VERSION "1.0.4"

// #define ADC_DIFFERENTIAL     1UL
// #define ADC_SINGLE_ENDED     0UL
// #define ADPCM_SAMPLES        2UL
// #define ALWAYS               7UL
// #define BARGRAPH             11UL
#define BITMAPS              1UL

#define BORDER               0UL

// #define CMDBUF_SIZE          4096UL
// #define CMD_APPEND           4294967070UL
// #define CMD_BGCOLOR          4294967049UL
// #define CMD_BITMAP_TRANSFORM 4294967073UL
// #define CMD_BUTTON           4294967053UL
// #define CMD_CALIBRATE        4294967061UL
// #define CMD_CLOCK            4294967060UL
// #define CMD_COLDSTART        4294967090UL
// #define CMD_CRC              4294967043UL
// #define CMD_CSKETCH          4294967093UL
// #define CMD_DIAL             4294967085UL
// #define CMD_DLSTART          4294967040UL
// #define CMD_EXECUTE          4294967047UL
// #define CMD_FGCOLOR          4294967050UL
// #define CMD_GAUGE            4294967059UL
// #define CMD_GETMATRIX        4294967091UL
// #define CMD_GETPOINT         4294967048UL
// #define CMD_GETPROPS         4294967077UL
// #define CMD_GETPTR           4294967075UL
// #define CMD_GRADCOLOR        4294967092UL
// #define CMD_GRADIENT         4294967051UL
// #define CMD_HAMMERAUX        4294967044UL
// #define CMD_IDCT_DELETED     4294967046UL
// #define CMD_INFLATE          4294967074UL
// #define CMD_INTERRUPT        4294967042UL
// #define CMD_INT_RAMSHARED    4294967101UL
// #define CMD_INT_SWLOADIMAGE  4294967102UL
// #define CMD_KEYS             4294967054UL
// #define CMD_LOADIDENTITY     4294967078UL
// #define CMD_LOADIMAGE        4294967076UL
// #define CMD_LOGO             4294967089UL
// #define CMD_MARCH            4294967045UL
// #define CMD_MEDIAFIFO        4294967097UL
// #define CMD_MEMCPY           4294967069UL
// #define CMD_MEMCRC           4294967064UL
// #define CMD_MEMSET           4294967067UL
// #define CMD_MEMWRITE         4294967066UL
// #define CMD_MEMZERO          4294967068UL
// #define CMD_NUMBER           4294967086UL
// #define CMD_PLAYVIDEO        4294967098UL
// #define CMD_PROGRESS         4294967055UL
// #define CMD_REGREAD          4294967065UL
// #define CMD_ROMFONT          4294967103UL
// #define CMD_ROTATE           4294967081UL
// #define CMD_SCALE            4294967080UL
// #define CMD_SCREENSAVER      4294967087UL
// #define CMD_SCROLLBAR        4294967057UL
// #define CMD_SETBASE          4294967096UL
// #define CMD_SETBITMAP        4294967107UL
// #define CMD_SETFONT          4294967083UL
// #define CMD_SETFONT2         4294967099UL
// #define CMD_SETMATRIX        4294967082UL
// #define CMD_SETROTATE        4294967094UL
// #define CMD_SETSCRATCH       4294967100UL
// #define CMD_SKETCH           4294967088UL
// #define CMD_SLIDER           4294967056UL
// #define CMD_SNAPSHOT         4294967071UL
// #define CMD_SNAPSHOT2        4294967095UL
// #define CMD_SPINNER          4294967062UL
// #define CMD_STOP             4294967063UL
// #define CMD_SWAP             4294967041UL
// #define CMD_SYNC             4294967106UL
// #define CMD_TEXT             4294967052UL
// #define CMD_TOGGLE           4294967058UL
// #define CMD_TOUCH_TRANSFORM  4294967072UL
// #define CMD_TRACK            4294967084UL
// #define CMD_TRANSLATE        4294967079UL
// #define CMD_VIDEOFRAME       4294967105UL
// #define CMD_VIDEOSTART       4294967104UL

// #define DECR                 4UL
#define FT810_DLSWAP_DONE          0UL
#define FT810_DLSWAP_FRAME         2UL
#define FT810_DLSWAP_LINE          1UL

// #define EQUAL                5UL
// #define GEQUAL               4UL
// #define GREATER              3UL
// #define INCR                 3UL
// #define INT_CMDEMPTY         32UL
// #define INT_CMDFLAG          64UL
// #define INT_CONVCOMPLETE     128UL
// #define INT_G8               18UL
// #define INT_L8C              12UL
// #define INT_PLAYBACK         16UL
// #define INT_SOUND            8UL
// #define INT_SWAP             1UL
// #define INT_TAG              4UL
// #define INT_TOUCH            2UL
// #define INT_VGA              13UL
// #define INVERT               5UL
// #define KEEP                 1UL

// #define LEQUAL               2UL
// #define LESS                 1UL
// #define LINEAR_SAMPLES       0UL
// #define LINE_STRIP           4UL
#define BILINEAR             1UL
#define NEAREST              0UL
// #define NEVER                0UL
// #define NOTEQUAL             6UL
#define ZERO                 0UL
#define ONE                  1UL
#define DST_ALPHA            3UL
#define SRC_ALPHA            2UL
#define ONE_MINUS_DST_ALPHA  5UL
#define ONE_MINUS_SRC_ALPHA  4UL
// #define OPT_CENTER           1536UL
// #define OPT_CENTERX          512UL
// #define OPT_CENTERY          1024UL
// #define OPT_FLAT             256UL
// #define OPT_FULLSCREEN       8UL
// #define OPT_MEDIAFIFO        16UL
// #define OPT_MONO             1UL
// #define OPT_NOBACK           4096UL
// #define OPT_NODL             2UL
// #define OPT_NOHANDS          49152UL
// #define OPT_NOHM             16384UL
// #define OPT_NOPOINTER        16384UL
// #define OPT_NOSECS           32768UL
// #define OPT_NOTEAR           4UL
// #define OPT_NOTICKS          8192UL
// #define OPT_RIGHTX           2048UL
// #define OPT_SIGNED           256UL
// #define OPT_SOUND            32UL

#define L1                   1UL
#define L2                   17UL
#define L4                   2UL
#define L8                   3UL
#define PALETTED             8UL
#define PALETTED4444         15UL
#define PALETTED565          14UL
#define PALETTED8            16UL
#define RGB332               4UL
#define RGB565               7UL
#define TEXT8X8              9UL
#define TEXTVGA              10UL
#define ARGB1555             0UL
#define ARGB2                5UL
#define ARGB4                6UL

#define POINTS               2UL
#define LINES                3UL
#define RECTS                9UL
#define EDGE_STRIP_A         7UL
#define EDGE_STRIP_B         8UL
#define EDGE_STRIP_L         6UL
#define EDGE_STRIP_R         5UL

#define FT810_RAM_CMD              0x308000
#define FT810_RAM_DL               0x300000
#define FT810_RAM_G                0x000000
#define FT810_RAM_G_SIZE           1024*1024L
#define FT810_RAM_REG              0x302000
#define FT810_RAM_ROMSUB           0x30a000


// #define ROMFONT_TABLEADDRESS 3145724UL

#define FT810_REG_ANALOG              0x30216c
#define FT810_REG_ANA_COMP            0x302184
#define FT810_REG_BIST_EN             0x302174
#define FT810_REG_BUSYBITS            0x3020e8
#define FT810_REG_CLOCK               0x302008
#define FT810_REG_CMDB_SPACE          0x302574
#define FT810_REG_CMDB_WRITE          0x302578
#define FT810_REG_CMD_DL              0x302100
#define FT810_REG_CMD_READ            0x3020f8
#define FT810_REG_CMD_WRITE           0x3020fc
#define FT810_REG_CPURESET            0x302020
#define FT810_REG_CRC                 0x302178
#define FT810_REG_CSPREAD             0x302068
#define FT810_REG_CTOUCH_EXTENDED     0x302108
#define FT810_REG_CTOUCH_TOUCH0_XY    0x302124
#define FT810_REG_CTOUCH_TOUCH4_X     0x30216c
#define FT810_REG_CTOUCH_TOUCH4_Y     0x302120
#define FT810_REG_CTOUCH_TOUCH1_XY    0x30211c
#define FT810_REG_CTOUCH_TOUCH2_XY    0x30218c
#define FT810_REG_CTOUCH_TOUCH3_XY    0x302190
#define FT810_REG_CYA_TOUCH           0x302168
#define FT810_REG_DATESTAMP           0x302564
#define FT810_REG_DITHER              0x302060
#define FT810_REG_DLSWAP              0x302054
#define FT810_REG_FRAMES              0x302004
#define FT810_REG_FREQUENCY           0x30200c
#define FT810_REG_GPIO                0x302094
#define FT810_REG_GPIOX               0x30209c
#define FT810_REG_GPIOX_DIR           0x302098
#define FT810_REG_GPIO_DIR            0x302090
#define FT810_REG_HCYCLE              0x30202c
#define FT810_REG_HOFFSET             0x302030
#define FT810_REG_HSIZE               0x302034
#define FT810_REG_HSYNC0              0x302038
#define FT810_REG_HSYNC1              0x30203c
#define FT810_REG_ID                  0x302000
#define FT810_REG_INT_EN              0x3020ac
#define FT810_REG_INT_FLAGS           0x3020a8
#define FT810_REG_INT_MASK            0x3020b0
#define FT810_REG_MACRO_0             0x3020d8
#define FT810_REG_MACRO_1             0x3020dc
#define FT810_REG_MEDIAFIFO_READ      0x309014
#define FT810_REG_MEDIAFIFO_WRITE     0x309018
#define FT810_REG_OUTBITS             0x30205c
#define FT810_REG_PATCHED_ANALOG      0x302170
#define FT810_REG_PATCHED_TOUCH_FAULT 0x30216c
#define FT810_REG_PCLK                0x302070
#define FT810_REG_PCLK_POL            0x30206c
#define FT810_REG_PLAY                0x30208c
#define FT810_REG_PLAYBACK_FORMAT     0x3020c4
#define FT810_REG_PLAYBACK_FREQ       0x3020c0
#define FT810_REG_PLAYBACK_LENGTH     0x3020b8
#define FT810_REG_PLAYBACK_LOOP       0x3020c8
#define FT810_REG_PLAYBACK_PLAY       0x3020cc
#define FT810_REG_PLAYBACK_READPTR    0x3020bc
#define FT810_REG_PLAYBACK_START      0x3020b4
#define FT810_REG_PWM_DUTY            0x3020d4
#define FT810_REG_PWM_HZ              0x3020d0
#define FT810_REG_RENDERMODE          0x302010
#define FT810_REG_ROMSUB_SEL          0x3020f0
#define FT810_REG_ROTATE              0x302058
#define FT810_REG_SNAPFORMAT          0x30201c
#define FT810_REG_SNAPSHOT            0x302018
#define FT810_REG_SNAPY               0x302014
#define FT810_REG_SOUND               0x302088
#define FT810_REG_SPI_EARLY_TX        0x30217c
#define FT810_REG_SPI_WIDTH           0x302188
#define FT810_REG_SWIZZLE             0x302064
#define FT810_REG_TAG                 0x30207c
#define FT810_REG_TAG_X               0x302074
#define FT810_REG_TAG_Y               0x302078
#define FT810_REG_TAP_CRC             0x302024
#define FT810_REG_TAP_MASK            0x302028
#define FT810_REG_TOUCH_ADC_MODE      0x302108
#define FT810_REG_TOUCH_CHARGE        0x30210c
#define FT810_REG_TOUCH_DIRECT_XY     0x30218c
#define FT810_REG_TOUCH_DIRECT_Z1Z2   0x302190
#define FT810_REG_TOUCH_FAULT         0x302170
#define FT810_REG_TOUCH_MODE          0x302104
#define FT810_REG_TOUCH_OVERSAMPLE    0x302114
#define FT810_REG_TOUCH_RAW_XY        0x30211c
#define FT810_REG_TOUCH_RZ            0x302120
#define FT810_REG_TOUCH_RZTHRESH      0x302118
#define FT810_REG_TOUCH_SCREEN_XY     0x302124
#define FT810_REG_TOUCH_SETTLE        0x302110
#define FT810_REG_TOUCH_TAG           0x30212c
#define FT810_REG_TOUCH_TAG1          0x302134
#define FT810_REG_TOUCH_TAG1_XY       0x302130
#define FT810_REG_TOUCH_TAG2          0x30213c
#define FT810_REG_TOUCH_TAG2_XY       0x302138
#define FT810_REG_TOUCH_TAG3          0x302144
#define FT810_REG_TOUCH_TAG3_XY       0x302140
#define FT810_REG_TOUCH_TAG4          0x30214c
#define FT810_REG_TOUCH_TAG4_XY       0x302148
#define FT810_REG_TOUCH_TAG_XY        0x302128
#define FT810_REG_TOUCH_TRANSFORM_A   0x302150
#define FT810_REG_TOUCH_TRANSFORM_B   0x302154
#define FT810_REG_TOUCH_TRANSFORM_C   0x302158
#define FT810_REG_TOUCH_TRANSFORM_D   0x30215c
#define FT810_REG_TOUCH_TRANSFORM_E   0x302160
#define FT810_REG_TOUCH_TRANSFORM_F   0x302164
#define FT810_REG_TRACKER             0x309000
#define FT810_REG_TRACKER_1           0x309004
#define FT810_REG_TRACKER_2           0x309008
#define FT810_REG_TRACKER_3           0x30900c
#define FT810_REG_TRACKER_4           0x309010
#define FT810_REG_TRIM                0x302180
#define FT810_REG_VCYCLE              0x302040
#define FT810_REG_VOFFSET             0x302044
#define FT810_REG_VOL_PB              0x302080
#define FT810_REG_VOL_SOUND           0x302084
#define FT810_REG_VSIZE               0x302048
#define FT810_REG_VSYNC0              0x30204c
#define FT810_REG_VSYNC1              0x302050

#define FT810_REPEAT               1UL
#define FT810_REPLACE              2UL
#define FT810_TOUCHMODE_CONTINUOUS 3UL
#define FT810_TOUCHMODE_FRAME      2UL
#define FT810_TOUCHMODE_OFF        0UL
#define FT810_TOUCHMODE_ONESHOT    1UL
#define FT810_ULAW_SAMPLES         1UL
#define FT810_VERTEX2F(x,y) ((1UL<<30)|(((x)&32767UL)<<15)|(((y)&32767UL)<<0))
#define FT810_VERTEX2II(x,y,handle,cell) ((2UL<<30)|(((x)&511UL)<<21)|(((y)&511UL)<<12)|(((handle)&31UL)<<7)|(((cell)&127UL)<<0))
#define FT810_BITMAP_SOURCE(addr) ((1UL<<24)|(((addr)&4194303UL)<<0))
#define FT810_CLEAR_COLOR_RGB(red,green,blue) ((2UL<<24)|(((red)&255UL)<<16)|(((green)&255UL)<<8)|(((blue)&255UL)<<0))
#define FT810_TAG(s) ((3UL<<24)|(((s)&255UL)<<0))
#define FT810_COLOR_RGB(red,green,blue) ((4UL<<24)|(((red)&255UL)<<16)|(((green)&255UL)<<8)|(((blue)&255UL)<<0))
#define FT810_BITMAP_HANDLE(handle) ((5UL<<24)|(((handle)&31UL)<<0))
#define FT810_CELL(cell) ((6UL<<24)|(((cell)&127UL)<<0))
#define FT810_BITMAP_LAYOUT(format,linestride,height) ((7UL<<24)|(((format)&31UL)<<19)|(((linestride)&1023UL)<<9)|(((height)&511UL)<<0))
#define FT810_BITMAP_SIZE(filter,wrapx,wrapy,width,height) ((8UL<<24)|(((filter)&1UL)<<20)|(((wrapx)&1UL)<<19)|(((wrapy)&1UL)<<18)|(((width)&511UL)<<9)|(((height)&511UL)<<0))
#define FT810_ALPHA_FUNC(func,ref) ((9UL<<24)|(((func)&7UL)<<8)|(((ref)&255UL)<<0))
#define FT810_STENCIL_FUNC(func,ref,mask) ((10UL<<24)|(((func)&7UL)<<16)|(((ref)&255UL)<<8)|(((mask)&255UL)<<0))
#define FT810_BLEND_FUNC(src,dst) ((11UL<<24)|(((src)&7UL)<<3)|(((dst)&7UL)<<0))
#define FT810_STENCIL_OP(sfail,spass) ((12UL<<24)|(((sfail)&7UL)<<3)|(((spass)&7UL)<<0))
#define FT810_POINT_SIZE(size) ((13UL<<24)|(((size)&8191UL)<<0))
#define FT810_LINE_WIDTH(width) ((14UL<<24)|(((width)&4095UL)<<0))
#define FT810_CLEAR_COLOR_A(alpha) ((15UL<<24)|(((alpha)&255UL)<<0))
#define FT810_COLOR_A(alpha) ((16UL<<24)|(((alpha)&255UL)<<0))
#define FT810_CLEAR_STENCIL(s) ((17UL<<24)|(((s)&255UL)<<0))
#define FT810_CLEAR_TAG(s) ((18UL<<24)|(((s)&255UL)<<0))
#define FT810_STENCIL_MASK(mask) ((19UL<<24)|(((mask)&255UL)<<0))
#define FT810_TAG_MASK(mask) ((20UL<<24)|(((mask)&1UL)<<0))
#define FT810_BITMAP_TRANSFORM_A(a) ((21UL<<24)|(((a)&131071UL)<<0))
#define FT810_BITMAP_TRANSFORM_B(b) ((22UL<<24)|(((b)&131071UL)<<0))
#define FT810_BITMAP_TRANSFORM_C(c) ((23UL<<24)|(((c)&16777215UL)<<0))
#define FT810_BITMAP_TRANSFORM_D(d) ((24UL<<24)|(((d)&131071UL)<<0))
#define FT810_BITMAP_TRANSFORM_E(e) ((25UL<<24)|(((e)&131071UL)<<0))
#define FT810_BITMAP_TRANSFORM_F(f) ((26UL<<24)|(((f)&16777215UL)<<0))
#define FT810_SCISSOR_XY(x,y) ((27UL<<24)|(((x)&2047UL)<<11)|(((y)&2047UL)<<0))
#define FT810_SCISSOR_SIZE(width,height) ((28UL<<24)|(((width)&4095UL)<<12)|(((height)&4095UL)<<0))
#define FT810_CALL(dest) ((29UL<<24)|(((dest)&65535UL)<<0))
#define FT810_JUMP(dest) ((30UL<<24)|(((dest)&65535UL)<<0))
#define FT810_BEGIN(prim) ((31UL<<24)|(((prim)&15UL)<<0))
#define FT810_COLOR_MASK(r,g,b,a) ((32UL<<24)|(((r)&1UL)<<3)|(((g)&1UL)<<2)|(((b)&1UL)<<1)|(((a)&1UL)<<0))
#define FT810_CLEAR(c,s,t) ((38UL<<24)|(((c)&1UL)<<2)|(((s)&1UL)<<1)|(((t)&1UL)<<0))
#define FT810_VERTEX_FORMAT(frac) ((39UL<<24)|(((frac)&7UL)<<0))
#define FT810_BITMAP_LAYOUT_H(linestride,height) ((40UL<<24)|(((linestride)&3UL)<<2)|(((height)&3UL)<<0))
#define FT810_BITMAP_SIZE_H(width,height) ((41UL<<24)|(((width)&3UL)<<2)|(((height)&3UL)<<0))
#define FT810_PALETTE_SOURCE(addr) ((42UL<<24)|(((addr)&4194303UL)<<0))
#define FT810_VERTEX_TRANSLATE_X(x) ((43UL<<24)|(((x)&131071UL)<<0))
#define FT810_VERTEX_TRANSLATE_Y(y) ((44UL<<24)|(((y)&131071UL)<<0))
#define FT810_NOP() ((45UL<<24))
#define FT810_END() ((33UL<<24))
#define FT810_SAVE_CONTEXT() ((34UL<<24))
#define FT810_RESTORE_CONTEXT() ((35UL<<24))
#define FT810_RETURN() ((36UL<<24))
#define FT810_MACRO(m) ((37UL<<24)|(((m)&1UL)<<0))
#define FT810_DISPLAY() ((0UL<<24))
```

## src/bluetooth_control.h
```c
#ifndef BLUETOOTH_CONTROL_H__
#define BLUETOOTH_CONTROL_H__

int bluetooth_control_init(void);

#endif /* BLUETOOTH_CONTROL_H__ */
```

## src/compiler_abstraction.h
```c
#pragma once

/* Minimal compiler abstraction used by legacy Doom sources.
 *
 * This project builds with GCC/Clang in Zephyr, so provide the `__ASM` macro
 * used for inline assembly (e.g., compiler memory barriers).
 */

#if defined(__clang__) || defined(__GNUC__)
#define __ASM __asm__
#else
#define __ASM asm
#endif
```
